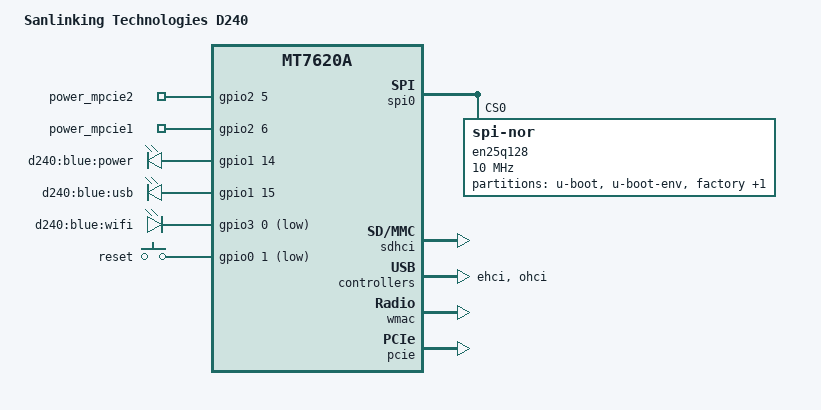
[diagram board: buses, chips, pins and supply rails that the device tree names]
/*
 *  BSD LICENSE
 *
 *  Copyright(c) 2017 Kristian Evensen <kristian.evensen@gmail.com>.
 *  All rights reserved.
 *
 *  Redistribution and use in source and binary forms, with or without
 *  modification, are permitted provided that the following conditions
 *  are met:
 *
 *    * Redistributions of source code must retain the above copyright
 *      notice, this list of conditions and the following disclaimer.
 *    * Redistributions in binary form must reproduce the above copyright
 *      notice, this list of conditions and the following disclaimer in
 *      the documentation and/or other materials provided with the
 *      distribution.
 *    * Neither the name of Broadcom Corporation nor the names of its
 *      contributors may be used to endorse or promote products derived
 *      from this software without specific prior written permission.
 *
 *  THIS SOFTWARE IS PROVIDED BY THE COPYRIGHT HOLDERS AND CONTRIBUTORS
 *  "AS IS" AND ANY EXPRESS OR IMPLIED WARRANTIES, INCLUDING, BUT NOT
 *  LIMITED TO, THE IMPLIED WARRANTIES OF MERCHANTABILITY AND FITNESS FOR
 *  A PARTICULAR PURPOSE ARE DISCLAIMED. IN NO EVENT SHALL THE COPYRIGHT
 *  OWNER OR CONTRIBUTORS BE LIABLE FOR ANY DIRECT, INDIRECT, INCIDENTAL,
 *  SPECIAL, EXEMPLARY, OR CONSEQUENTIAL DAMAGES (INCLUDING, BUT NOT
 *  LIMITED TO, PROCUREMENT OF SUBSTITUTE GOODS OR SERVICES; LOSS OF USE,
 *  DATA, OR PROFITS; OR BUSINESS INTERRUPTION) HOWEVER CAUSED AND ON ANY
 *  THEORY OF LIABILITY, WHETHER IN CONTRACT, STRICT LIABILITY, OR TORT
 *  (INCLUDING NEGLIGENCE OR OTHERWISE) ARISING IN ANY WAY OUT OF THE USE
 *  OF THIS SOFTWARE, EVEN IF ADVISED OF THE POSSIBILITY OF SUCH DAMAGE.
 */

/dts-v1/;

#include "mt7620a.dtsi"

#include <dt-bindings/gpio/gpio.h>
#include <dt-bindings/input/input.h>

/ {
	compatible = "sanlinking,d240", "ralink,mt7620a-soc";
	model = "Sanlinking Technologies D240";

	aliases {
		led-boot = &led_power;
		led-failsafe = &led_power;
		led-running = &led_power;
		led-upgrade = &led_power;
	};

	chosen {
		bootargs = "console=ttyS0,115200";
	};

	gpio-export {
		compatible = "gpio-export";
		#size-cells = <0>;

		power_mpcie2 {
			gpio-export,name = "power_mpcie2";
			gpio-export,output = <1>;
			gpios = <&gpio2 5 GPIO_ACTIVE_HIGH>;
		};

		power_mpcie1 {
			gpio-export,name = "power_mpcie1";
			gpio-export,output = <1>;
			gpios = <&gpio2 6 GPIO_ACTIVE_HIGH>;
		};
	};

	gpio-leds {
		compatible = "gpio-leds";

		led_power: power {
			label = "d240:blue:power";
			gpios = <&gpio1 14 GPIO_ACTIVE_HIGH>;
		};

		usb {
			label = "d240:blue:usb";
			gpios = <&gpio1 15 GPIO_ACTIVE_HIGH>;
			trigger-sources = <&ohci_port1>, <&ehci_port1>;
			linux,default-trigger = "usbport";
		};

		air {
			label = "d240:blue:wifi";
			gpios = <&gpio3 0 GPIO_ACTIVE_LOW>;
		};
	};

	gpio-keys-polled {
		compatible = "gpio-keys-polled";
		poll-interval = <20>;

		reset {
			label = "reset";
			gpios = <&gpio0 1 GPIO_ACTIVE_LOW>;
			linux,code = <KEY_RESTART>;
		};
	};
};

&gpio1 {
	status = "okay";
};

&gpio2 {
	status = "okay";
};

&gpio3 {
	status = "okay";
};

&spi0 {
	status = "okay";

	en25q128@0 {
		compatible = "jedec,spi-nor";
		reg = <0>;
		spi-max-frequency = <10000000>;

		partitions {
			compatible = "fixed-partitions";
			#address-cells = <1>;
			#size-cells = <1>;

			partition@0 {
				label = "u-boot";
				reg = <0x0 0x30000>;
				read-only;
			};

			partition@30000 {
				label = "u-boot-env";
				reg = <0x30000 0x10000>;
				read-only;
			};

			factory: partition@40000 {
				label = "factory";
				reg = <0x40000 0x10000>;
				read-only;
			};

			partition@50000 {
				label = "firmware";
				reg = <0x50000 0xfb0000>;
			};
		};
	};
};

&sdhci {
	status = "okay";
};

&ehci {
	status = "okay";
};

&ohci {
	status = "okay";
};

&ethernet {
	mtd-mac-address = <&factory 0x4>;
	mediatek,portmap = "wllll";
};

&wmac {
	ralink,mtd-eeprom = <&factory 0>;
};

&pinctrl {
	state_default: pinctrl0 {
		default {
			ralink,group = "i2c", "uartf", "wled", "spi refclk", "pa";
			ralink,function = "gpio";
		};
	};
};

&pcie {
	status = "okay";
};
